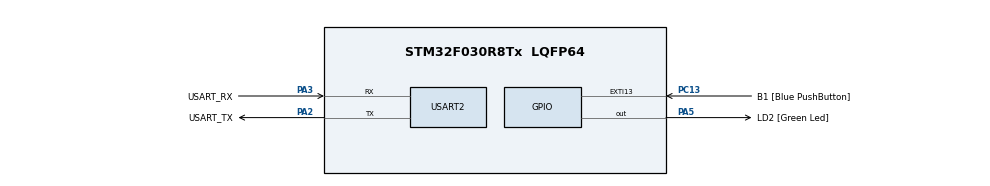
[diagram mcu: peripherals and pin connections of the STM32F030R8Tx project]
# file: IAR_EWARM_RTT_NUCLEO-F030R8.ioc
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Mcu.Family=STM32F0
Mcu.Name=STM32F030R8Tx
Mcu.Package=LQFP64
PA13.GPIO_Label=TMS
PA13.Mode=Serial_Wire
PA13.Signal=SYS_SWDIO
PA14.GPIO_Label=TCK
PA14.Mode=Serial_Wire
PA14.Signal=SYS_SWCLK
PA2.GPIO_Label=USART_TX
PA2.GPIO_Mode=GPIO_MODE_AF_PP
PA2.GPIO_PuPd=GPIO_NOPULL
PA2.GPIO_Speed=GPIO_SPEED_FREQ_LOW
PA2.Mode=Asynchronous
PA2.Signal=USART2_TX
PA3.GPIO_Label=USART_RX
PA3.GPIO_Mode=GPIO_MODE_AF_PP
PA3.GPIO_PuPd=GPIO_NOPULL
PA3.GPIO_Speed=GPIO_SPEED_FREQ_LOW
PA3.Mode=Asynchronous
PA3.Signal=USART2_RX
PA5.GPIO_Label=LD2 [Green Led]
PA5.GPIO_Mode=GPIO_MODE_OUTPUT_PP
PA5.GPIO_PuPd=GPIO_NOPULL
PA5.GPIO_Speed=GPIO_SPEED_FREQ_LOW
PA5.Signal=GPIO_Output
PC13.GPIO_Label=B1 [Blue PushButton]
PC13.GPIO_ModeDefaultEXTI=GPIO_MODE_IT_FALLING
PC13.Signal=GPXTI13
PC14-OSC32_IN.Mode=LSE-External-Oscillator
PC14-OSC32_IN.Signal=RCC_OSC32_IN
PC15-OSC32_OUT.Mode=LSE-External-Oscillator
PC15-OSC32_OUT.Signal=RCC_OSC32_OUT
PF0-OSC_IN.Mode=HSE-External-Clock-Source
PF0-OSC_IN.Signal=RCC_OSC_IN
PF1-OSC_OUT.Signal=RCC_OSC_OUT
ProjectManager.HeapSize=0x200
ProjectManager.StackSize=0x400
ProjectManager.TargetToolchain=EWARM V8.32
RCC.AHBFreq_Value=48000000
RCC.APB1Freq_Value=48000000
RCC.APB1TimFreq_Value=48000000
RCC.HCLKFreq_Value=48000000
RCC.PLLMUL=RCC_PLL_MUL12
RCC.SYSCLKFreq_VALUE=48000000
RCC.SYSCLKSource=RCC_SYSCLKSOURCE_PLLCLK
USART2.VirtualMode-Asynchronous=VM_ASYNC
board=NUCLEO-F030R8

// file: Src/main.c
/* USER CODE BEGIN Header */
/**
  ******************************************************************************
  * @file           : main.c
  * @brief          : Main program body
  ******************************************************************************
  * @attention
  *
  * <h2><center>&copy; Copyright (c) 2020 STMicroelectronics.
  * All rights reserved.</center></h2>
  *
  * This software component is licensed by ST under BSD 3-Clause license,
  * the "License"; You may not use this file except in compliance with the
  * License. You may obtain a copy of the License at:
  *                        opensource.org/licenses/BSD-3-Clause
  *
  ******************************************************************************
  */
/* USER CODE END Header */

#include "main.h"

/* USER CODE BEGIN Includes */
#include "SEGGER_RTT.h"
#include "string.h"
#include "trice.h"
/* USER CODE END Includes */

void SystemClock_Config(void);
static void MX_GPIO_Init(void);
static void MX_USART2_UART_Init(void);

int main(void)
{

  /* MCU Configuration--------------------------------------------------------*/

  /* Reset of all peripherals, Initializes the Flash interface and the Systick. */

  LL_APB1_GRP2_EnableClock(LL_APB1_GRP2_PERIPH_SYSCFG);
  LL_APB1_GRP1_EnableClock(LL_APB1_GRP1_PERIPH_PWR);

  /* System interrupt init*/

  /* Configure the system clock */
  SystemClock_Config();

  /* USER CODE BEGIN SysInit */
    SysTick->CTRL |= SysTick_CTRL_TICKINT_Msk; // enable SysTick interrupt
  /* USER CODE END SysInit */

  /* Initialize all configured peripherals */
  MX_GPIO_Init();
  MX_USART2_UART_Init();

  /* Infinite loop */
  /* USER CODE BEGIN WHILE */
    SEGGER_RTT_GetAvailWriteSpace(0);
    {
        volatile unsigned i = 1000000;
        while( i-->0 );
    }
    char* s = "Hi5!\n";
    SEGGER_RTT_Write(0, s, strlen(s));
    TRICE16_1( Id(65439), "TIM:timing      message, SysTick is %6d\n", SYSTICKVAL16 );
    TRICE0( Id(43310), "att:IAR_EWARM_RTT_NUCLEO-F030R8\n" );
    TRICE16_1( Id(65439), "TIM:timing      message, SysTick is %6d\n", SYSTICKVAL16 );
    TRICE16_1( Id(65439), "TIM:timing      message, SysTick is %6d\n", SYSTICKVAL16 );
    TRICE16_1( Id(65439), "TIM:timing      message, SysTick is %6d\n", SYSTICKVAL16 );
    TRICE16_1( Id(65439), "TIM:timing      message, SysTick is %6d\n", SYSTICKVAL16 );
    while (1)
    {
      //////////////////////////////////////////////////
      // demo trices
      //
      static uint32_t ms_1 = 0;
      extern uint32_t ms;
      if( ms >= ms_1 + 1000 ){ // every sec
          static int index = 0;
          triceCheckSet(index++%20);
          TRICE32_1( Id(25382), "time:ms = %d\n", ms );
          LL_GPIO_TogglePin(LD2_GPIO_Port, LD2_Pin);
          ms_1 = ms;
      }
      //
      //////////////////////////////////////////////////

      //////////////////////////////////////////////////
      // no needed background activity
      //
      //
      //////////////////////////////////////////////////
    /* USER CODE END WHILE */

  }
}

void SystemClock_Config(void)
{
  LL_FLASH_SetLatency(LL_FLASH_LATENCY_1);

  if(LL_FLASH_GetLatency() != LL_FLASH_LATENCY_1)
  {
  Error_Handler();
  }
  LL_RCC_HSI_Enable();

   /* Wait till HSI is ready */
  while(LL_RCC_HSI_IsReady() != 1)
  {

  }
  LL_RCC_HSI_SetCalibTrimming(16);
  LL_RCC_PLL_ConfigDomain_SYS(LL_RCC_PLLSOURCE_HSI_DIV_2, LL_RCC_PLL_MUL_12);
  LL_RCC_PLL_Enable();

   /* Wait till PLL is ready */
  while(LL_RCC_PLL_IsReady() != 1)
  {

  }
  LL_RCC_SetAHBPrescaler(LL_RCC_SYSCLK_DIV_1);
  LL_RCC_SetAPB1Prescaler(LL_RCC_APB1_DIV_1);
  LL_RCC_SetSysClkSource(LL_RCC_SYS_CLKSOURCE_PLL);

   /* Wait till System clock is ready */
  while(LL_RCC_GetSysClkSource() != LL_RCC_SYS_CLKSOURCE_STATUS_PLL)
  {

  }
  LL_Init1msTick(48000000);
  LL_SetSystemCoreClock(48000000);
}

static void MX_USART2_UART_Init(void)
{

  LL_USART_InitTypeDef USART_InitStruct = {0};

  LL_GPIO_InitTypeDef GPIO_InitStruct = {0};

  /* Peripheral clock enable */
  LL_APB1_GRP1_EnableClock(LL_APB1_GRP1_PERIPH_USART2);

  LL_AHB1_GRP1_EnableClock(LL_AHB1_GRP1_PERIPH_GPIOA);
  /**USART2 GPIO Configuration
  PA2   ------> USART2_TX
  PA3   ------> USART2_RX
  */
  GPIO_InitStruct.Pin = USART_TX_Pin;
  GPIO_InitStruct.Mode = LL_GPIO_MODE_ALTERNATE;
  GPIO_InitStruct.Speed = LL_GPIO_SPEED_FREQ_LOW;
  GPIO_InitStruct.OutputType = LL_GPIO_OUTPUT_PUSHPULL;
  GPIO_InitStruct.Pull = LL_GPIO_PULL_NO;
  GPIO_InitStruct.Alternate = LL_GPIO_AF_1;
  LL_GPIO_Init(USART_TX_GPIO_Port, &GPIO_InitStruct);

  GPIO_InitStruct.Pin = USART_RX_Pin;
  GPIO_InitStruct.Mode = LL_GPIO_MODE_ALTERNATE;
  GPIO_InitStruct.Speed = LL_GPIO_SPEED_FREQ_LOW;
  GPIO_InitStruct.OutputType = LL_GPIO_OUTPUT_PUSHPULL;
  GPIO_InitStruct.Pull = LL_GPIO_PULL_NO;
  GPIO_InitStruct.Alternate = LL_GPIO_AF_1;
  LL_GPIO_Init(USART_RX_GPIO_Port, &GPIO_InitStruct);

  USART_InitStruct.BaudRate = 38400;
  USART_InitStruct.DataWidth = LL_USART_DATAWIDTH_8B;
  USART_InitStruct.StopBits = LL_USART_STOPBITS_1;
  USART_InitStruct.Parity = LL_USART_PARITY_NONE;
  USART_InitStruct.TransferDirection = LL_USART_DIRECTION_TX_RX;
  USART_InitStruct.HardwareFlowControl = LL_USART_HWCONTROL_NONE;
  USART_InitStruct.OverSampling = LL_USART_OVERSAMPLING_16;
  LL_USART_Init(USART2, &USART_InitStruct);
  LL_USART_DisableIT_CTS(USART2);
  LL_USART_ConfigAsyncMode(USART2);
  LL_USART_Enable(USART2);

}

static void MX_GPIO_Init(void)
{
  LL_EXTI_InitTypeDef EXTI_InitStruct = {0};
  LL_GPIO_InitTypeDef GPIO_InitStruct = {0};

  /* GPIO Ports Clock Enable */
  LL_AHB1_GRP1_EnableClock(LL_AHB1_GRP1_PERIPH_GPIOC);
  LL_AHB1_GRP1_EnableClock(LL_AHB1_GRP1_PERIPH_GPIOF);
  LL_AHB1_GRP1_EnableClock(LL_AHB1_GRP1_PERIPH_GPIOA);

  /**/
  LL_GPIO_ResetOutputPin(LD2_GPIO_Port, LD2_Pin);

  /**/
  LL_SYSCFG_SetEXTISource(LL_SYSCFG_EXTI_PORTC, LL_SYSCFG_EXTI_LINE13);

  /**/
  LL_GPIO_SetPinPull(B1_GPIO_Port, B1_Pin, LL_GPIO_PULL_NO);

  /**/
  LL_GPIO_SetPinMode(B1_GPIO_Port, B1_Pin, LL_GPIO_MODE_INPUT);

  /**/
  EXTI_InitStruct.Line_0_31 = LL_EXTI_LINE_13;
  EXTI_InitStruct.LineCommand = ENABLE;
  EXTI_InitStruct.Mode = LL_EXTI_MODE_IT;
  EXTI_InitStruct.Trigger = LL_EXTI_TRIGGER_FALLING;
  LL_EXTI_Init(&EXTI_InitStruct);

  /**/
  GPIO_InitStruct.Pin = LD2_Pin;
  GPIO_InitStruct.Mode = LL_GPIO_MODE_OUTPUT;
  GPIO_InitStruct.Speed = LL_GPIO_SPEED_FREQ_LOW;
  GPIO_InitStruct.OutputType = LL_GPIO_OUTPUT_PUSHPULL;
  GPIO_InitStruct.Pull = LL_GPIO_PULL_NO;
  LL_GPIO_Init(LD2_GPIO_Port, &GPIO_InitStruct);

}

void Error_Handler(void)
{
}

/************************ (C) COPYRIGHT STMicroelectronics *****END OF FILE****/
